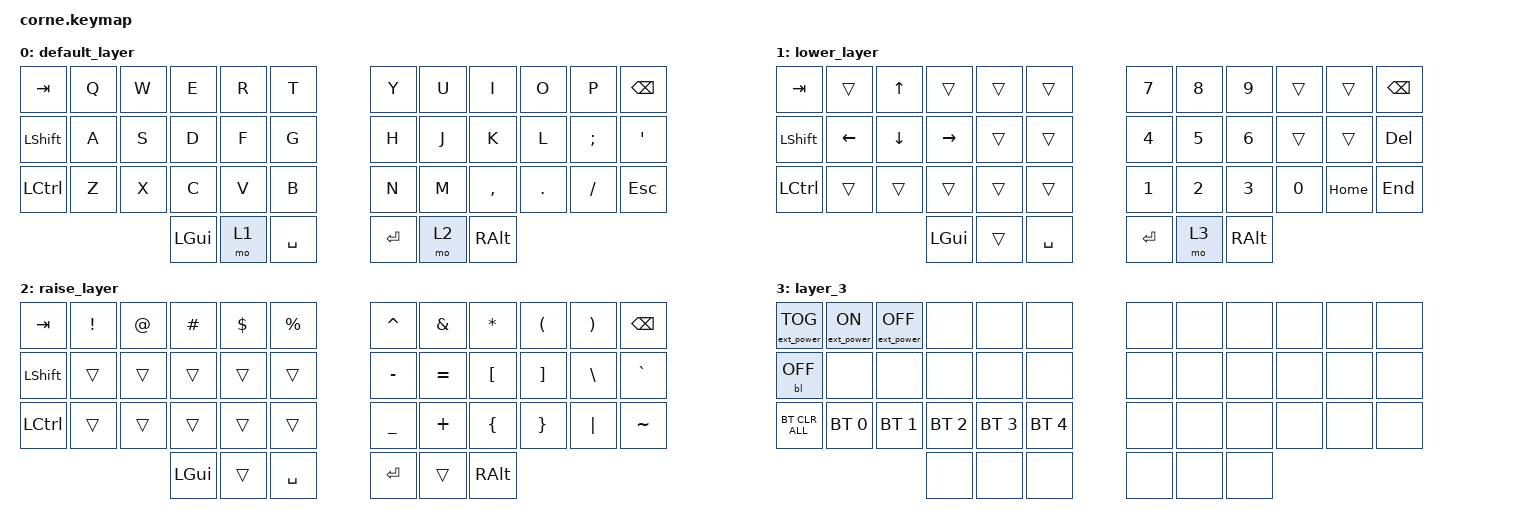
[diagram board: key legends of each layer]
/*
 * Copyright (c) 2020 The ZMK Contributors
 *
 * SPDX-License-Identifier: MIT
 */

#include <behaviors.dtsi>
#include <dt-bindings/zmk/backlight.h>
#include <dt-bindings/zmk/bt.h>
#include <dt-bindings/zmk/ext_power.h>
#include <dt-bindings/zmk/keys.h>

/ {
    keymap {
        compatible = "zmk,keymap";

        default_layer {
            // -----------------------------------------------------------------------------------------
            // |  TAB |  Q  |  W  |  E  |  R  |  T  |   |  Y  |  U   |  I  |  O  |  P  | BKSP |
            // | CTRL |  A  |  S  |  D  |  F  |  G  |   |  H  |  J   |  K  |  L  |  ;  |  '   |
            // | SHFT |  Z  |  X  |  C  |  V  |  B  |   |  N  |  M   |  ,  |  .  |  /  | ESC  |
            //                    | GUI | LWR | SPC |   | ENT | RSE  | ALT |

            bindings = <
&kp TAB           &kp Q  &kp W  &kp E     &kp R  &kp T        &kp Y    &kp U  &kp I      &kp O    &kp P     &kp BSPC
&kp LEFT_SHIFT    &kp A  &kp S  &kp D     &kp F  &kp G        &kp H    &kp J  &kp K      &kp L    &kp SEMI  &kp SQT
&kp LEFT_CONTROL  &kp Z  &kp X  &kp C     &kp V  &kp B        &kp N    &kp M  &kp COMMA  &kp DOT  &kp FSLH  &kp ESC
                                &kp LGUI  &mo 1  &kp SPACE    &kp RET  &mo 2  &kp RALT
            >;
        };

        lower_layer {
            // -----------------------------------------------------------------------------------------
            // |  TAB |  1  |  2   |  3  |  4  |  5  |   |  6  |  7  |  8  |  9  |  0  | BKSP |
            // | BTCLR| BT1 | BT2  | BT3 | BT4 | BT5 |   | LFT | DWN |  UP | RGT |     |      |
            // | SHFT |EP_ON|EP_OFF|     |     |     |   |     |     |     |     |     |      |
            //                    | GUI |     | SPC |   | ENT |     | ALT |

            bindings = <
&kp TAB         &trans    &kp UP    &trans     &trans  &trans       &kp N7   &kp N8  &kp N9    &trans  &trans    &kp BSPC
&kp LEFT_SHIFT  &kp LEFT  &kp DOWN  &kp RIGHT  &trans  &trans       &kp N4   &kp N5  &kp N6    &trans  &trans    &kp DELETE
&kp LCTRL       &trans    &trans    &trans     &trans  &trans       &kp N1   &kp N2  &kp N3    &kp N0  &kp HOME  &kp END
                                    &kp LGUI   &trans  &kp SPACE    &kp RET  &mo 3   &kp RALT
            >;
        };

        raise_layer {
            // -----------------------------------------------------------------------------------------
            // |  TAB |  !  |  @  |  #  |  $  |  %  |   |  ^  |  &  |  *  |  (  |  )  | BKSP |
            // | CTRL |     |     |     |     |     |   |  -  |  =  |  [  |  ]  |  \  |  `   |
            // | SHFT |     |     |     |     |     |   |  _  |  +  |  {  |  }  | "|" |  ~   |
            //                    | GUI |     | SPC |   | ENT |     | ALT |

            bindings = <
&kp TAB         &kp EXCL  &kp AT  &kp HASH  &kp DLLR  &kp PRCNT    &kp CARET  &kp AMPS   &kp ASTRK  &kp LPAR  &kp RPAR  &kp BSPC
&kp LEFT_SHIFT  &trans    &trans  &trans    &trans    &trans       &kp MINUS  &kp EQUAL  &kp LBKT   &kp RBKT  &kp BSLH  &kp GRAVE
&kp LCTRL       &trans    &trans  &trans    &trans    &trans       &kp UNDER  &kp PLUS   &kp LBRC   &kp RBRC  &kp PIPE  &kp TILDE
                                  &kp LGUI  &trans    &kp SPACE    &kp RET    &trans     &kp RALT
            >;
        };

        layer_3 {
            bindings = <
&ext_power EP_TOG  &ext_power EP_ON  &ext_power EP_OFF  &none         &none         &none           &none  &none  &none  &none  &none  &none
&bl BL_OFF         &none             &none              &none         &none         &none           &none  &none  &none  &none  &none  &none
&bt BT_CLR_ALL     &bt BT_SEL 0      &bt BT_SEL 1       &bt BT_SEL 2  &bt BT_SEL 3  &bt BT_SEL 4    &none  &none  &none  &none  &none  &none
                                                        &none         &none         &none           &none  &none  &none
            >;
        };
    };
};

&nice_view_spi { cs-gpios = <&gpio1 1 GPIO_ACTIVE_HIGH>; };
